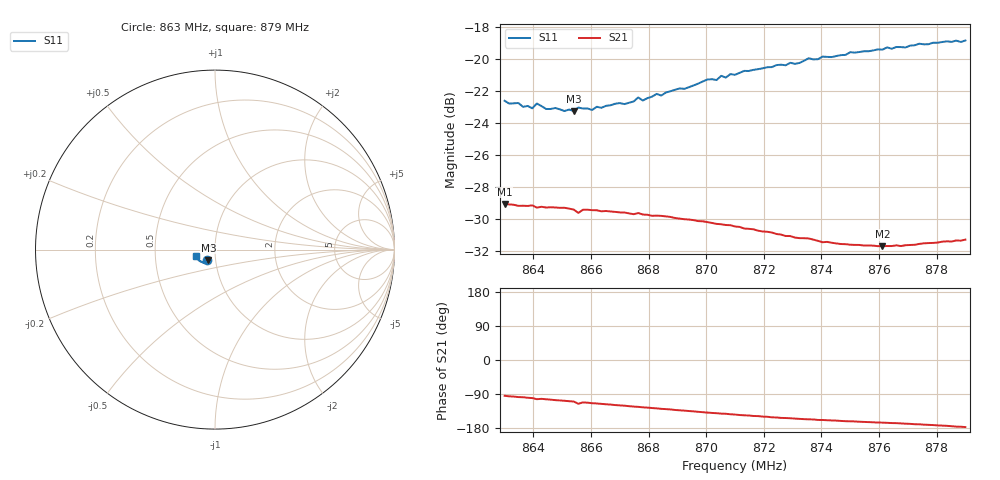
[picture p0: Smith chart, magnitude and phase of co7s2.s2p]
# HZ S RI R 50
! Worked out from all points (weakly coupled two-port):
!   101 points, 863 MHz to 879 MHz, reference 50 ohm
!   highest |S21| = -29.04 dB at 863 MHz (marker M1); lowest = -31.7 dB at 876.12 MHz (marker M2)
!   lowest |S11| = -23.3 dB at 865.4 MHz (marker M3), VSWR 1.15, Z = 46.1 - j5.36 ohm
!   |S11| at or under -10 dB: start of sweep to end of sweep
!   S12 and S22 are empty: the file has one direction only
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8.63e8  -0.0467 -0.0574  -0.00273 -0.0352  0 0  0 0
8.6396e8  -0.0414 -0.0566  -0.00636 -0.0344  0 0  0 0
8.6412e8  -0.0455 -0.0566  -0.00798 -0.0334  0 0  0 0
8.6444e8  -0.0419 -0.0559  -0.00813 -0.0334  0 0  0 0
8.654e8  -0.0371 -0.0579  -0.0114 -0.0319  0 0  0 0
8.6556e8  -0.0406 -0.0577  -0.0143 -0.0299  0 0  0 0
8.6572e8  -0.0384 -0.0586  -0.0126 -0.0314  0 0  0 0
8.6604e8  -0.0368 -0.0587  -0.0138 -0.0308  0 0  0 0
8.662e8  -0.0377 -0.0601  -0.0141 -0.0307  0 0  0 0
8.6716e8  -0.0359 -0.0627  -0.0169 -0.0286  0 0  0 0
8.6764e8  -0.0388 -0.0651  -0.0183 -0.0275  0 0  0 0
8.678e8  -0.038 -0.0637  -0.0187 -0.0268  0 0  0 0
8.6828e8  -0.0395 -0.0671  -0.0198 -0.0257  0 0  0 0
8.6844e8  -0.0396 -0.0659  -0.0203 -0.0252  0 0  0 0
8.7004e8  -0.0473 -0.0722  -0.0233 -0.0204  0 0  0 0
8.7036e8  -0.0472 -0.0718  -0.0236 -0.0195  0 0  0 0
8.7052e8  -0.0507 -0.0726  -0.0239 -0.019  0 0  0 0
8.71e8  -0.0518 -0.0726  -0.0243 -0.0177  0 0  0 0
8.7372e8  -0.0703 -0.0706  -0.0251 -0.0107  0 0  0 0
8.7612e8  -0.089 -0.0591  -0.0252 -0.00666  0 0  0 0
8.7644e8  -0.0913 -0.0569  -0.0253 -0.00613  0 0  0 0
8.79e8  -0.1082 -0.0365  -0.0273 -0.0014  0 0  0 0
